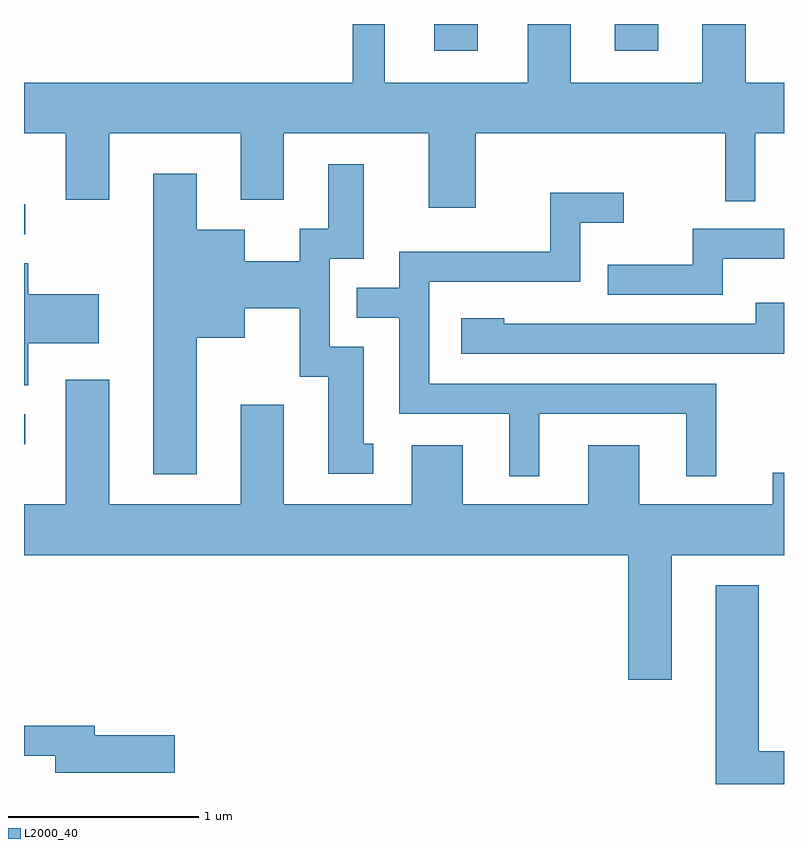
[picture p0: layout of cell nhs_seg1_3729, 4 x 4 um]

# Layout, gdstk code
import gdstk
lib = gdstk.Library(unit=1e-6, precision=1e-09)
def R(c, l, rs):  # rectangles x0, y0, x1, y1
    for r in rs: c.add(gdstk.rectangle(r[:2], r[2:], *l))
def P(c, l, *ps):  # polygons
    for p in ps: c.add(gdstk.Polygon(p, *l))
L2000_40 = (2000, 40)

nhs_seg1_3729 = lib.new_cell('nhs_seg1_3729')
R(nhs_seg1_3729, L2000_40, [(297.611,893.501,297.618,893.659), (297.611,894.606,297.618,894.764), (299.771,895.571,299.999,895.712), (300.721,895.571,300.949,895.712)])
P(nhs_seg1_3729, L2000_40, [(301.301,894.778),(301.459,894.778),(301.459,895.136),(301.611,895.136),(301.611,895.404),(301.409,895.404),(301.409,895.712),(301.181,895.712),(301.181,895.404),(300.489,895.404),(300.489,895.712),(300.261,895.712),(300.261,895.404),(299.509,895.404),(299.509,895.712),(299.341,895.712),(299.341,895.404),(297.611,895.404),(297.611,895.136),(297.831,895.136),(297.831,894.786),(298.059,894.786),(298.059,895.136),(298.751,895.136),(298.751,894.786),(298.979,894.786),(298.979,895.136),(299.741,895.136),(299.741,894.746),(299.989,894.746),(299.989,895.136),(301.301,895.136)],
  [(298.519,894.061),(298.774,894.061),(298.774,894.216),(299.061,894.216),(299.061,893.856),(299.211,893.856),(299.211,893.346),(299.448,893.346),(299.448,893.504),(299.399,893.504),(299.399,894.014),(299.219,894.014),(299.219,894.476),(299.399,894.476),(299.399,894.974),(299.211,894.974),(299.211,894.634),(299.061,894.634),(299.061,894.464),(298.774,894.464),(298.774,894.629),(298.519,894.629),(298.519,894.924),(298.291,894.924),(298.291,893.341),(298.519,893.341)],
  [(300.324,893.661),(301.096,893.661),(301.096,893.333),(301.254,893.333),(301.254,893.819),(299.744,893.819),(299.744,894.356),(300.539,894.356),(300.539,894.666),(300.768,894.666),(300.768,894.824),(300.381,894.824),(300.381,894.514),(299.586,894.514),(299.586,894.324),(299.363,894.324),(299.363,894.166),(299.586,894.166),(299.586,893.661),(300.166,893.661),(300.166,893.333),(300.324,893.333)],
  [(301.289,894.476),(301.611,894.476),(301.611,894.634),(301.131,894.634),(301.131,894.444),(300.683,894.444),(300.683,894.286),(301.289,894.286)],
  [(297.634,894.031),(298.004,894.031),(298.004,894.289),(297.634,894.289),(297.634,894.454),(297.611,894.454),(297.611,893.811),(297.634,893.811)],
  [(301.611,894.244),(301.461,894.244),(301.461,894.134),(300.139,894.134),(300.139,894.164),(299.911,894.164),(299.911,893.976),(301.611,893.976)],
  [(301.019,892.916),(301.611,892.916),(301.611,893.349),(301.551,893.349),(301.551,893.184),(300.849,893.184),(300.849,893.494),(300.581,893.494),(300.581,893.184),(299.919,893.184),(299.919,893.494),(299.651,893.494),(299.651,893.184),(298.979,893.184),(298.979,893.709),(298.751,893.709),(298.751,893.184),(298.059,893.184),(298.059,893.839),(297.831,893.839),(297.831,893.184),(297.611,893.184),(297.611,892.916),(300.791,892.916),(300.791,892.261),(301.019,892.261)],
  [(301.611,891.884),(301.479,891.884),(301.479,892.759),(301.251,892.759),(301.251,891.712),(301.611,891.712)],
  [(298.404,891.969),(297.984,891.969),(297.984,892.019),(297.611,892.019),(297.611,891.861),(297.776,891.861),(297.776,891.771),(298.404,891.771)])

lib.write_gds('nhs_seg1_3729.gds')
